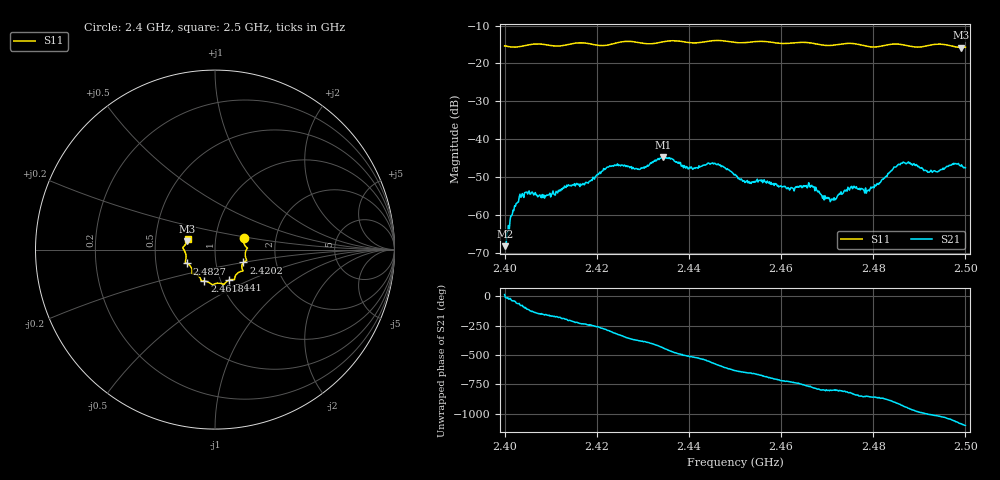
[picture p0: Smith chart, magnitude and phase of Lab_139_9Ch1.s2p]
# Hz S RI R 50
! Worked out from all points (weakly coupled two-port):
!   601 points, 2.4 GHz to 2.5 GHz, reference 50 ohm
!   highest |S21| = -44.78 dB at 2.4343 GHz (marker M1); lowest = -68.3 dB at 2.4002 GHz (marker M2)
!   lowest |S11| = -15.8 dB at 2.499 GHz (marker M3), VSWR 1.39, Z = 36.4 + j3.47 ohm
!   |S11| at or under -10 dB: start of sweep to end of sweep
!   S12 and S22 are empty: the file has one direction only
!   S11 on the Smith chart (normalised r, x): 2.4 GHz: 1.36, +0.18; 2.4202 GHz: 1.36, -0.20; 2.441 GHz: 1.10, -0.39; 2.4618 GHz: 0.84, -0.30; 2.4827 GHz: 0.72, -0.12; 2.5 GHz: 0.73, +0.09
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2.4e9  0.1589 0.0631  0.000374 9.64e-05  0 0  0 0
2.400167e9  0.1586 0.0615  0.000377 -7.41e-05  0 0  0 0
2.401667e9  0.1591 0.0433  0.000791 -0.000629  0 0  0 0
2.403833e9  0.168 0.0208  0.000429 -0.00185  0 0  0 0
2.416667e9  0.1773 -0.0609  -0.00145 0.002  0 0  0 0
2.420167e9  0.1587 -0.0713  -0.000629 0.00337  0 0  0 0
2.433333e9  0.1116 -0.1508  0.00264 -0.00487  0 0  0 0
2.434333e9  0.1097 -0.1588  0.00119 -0.00564  0 0  0 0
2.441e9  0.0787 -0.1698  -0.00378 -0.00157  0 0  0 0
2.445333e9  0.0512 -0.1938  -0.00399 0.00245  0 0  0 0
2.45e9  0.0285 -0.1875  0.000152 0.00341  0 0  0 0
2.461833e9  -0.059 -0.1754  0.0021 -0.000285  0 0  0 0
2.466667e9  -0.0787 -0.1683  0.00141 -0.002  0 0  0 0
2.471167e9  -0.1058 -0.1377  0.000249 -0.00158  0 0  0 0
2.4755e9  -0.1275 -0.1322  -0.000795 -0.00206  0 0  0 0
2.478667e9  -0.1285 -0.1089  -0.00137 -0.00156  0 0  0 0
2.482667e9  -0.1561 -0.0774  -0.00291 -0.00129  0 0  0 0
2.483333e9  -0.1604 -0.0754  -0.00338 -0.000922  0 0  0 0
2.4865e9  -0.1646 -0.0635  -0.00407 0.00288  0 0  0 0
2.492333e9  -0.1746 0.000608  0.00107 0.00357  0 0  0 0
2.499e9  -0.1556 0.0464  0.00438 -0.000473  0 0  0 0
2.5e9  -0.1525 0.0606  0.0039 -0.00148  0 0  0 0
